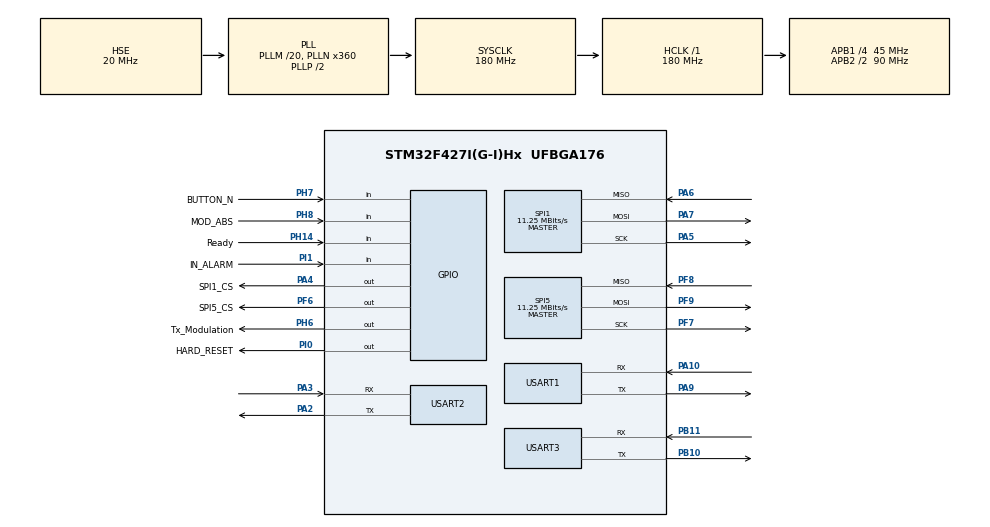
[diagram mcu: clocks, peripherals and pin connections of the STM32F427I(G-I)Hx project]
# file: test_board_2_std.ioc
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Mcu.Family=STM32F4
Mcu.Name=STM32F427I(G-I)Hx
Mcu.Package=UFBGA176
NVIC.PriorityGroup=NVIC_PRIORITYGROUP_4
NVIC.TIM2_IRQn=true\:0\:0\:false\:false\:true\:true\:true
NVIC.TIM3_IRQn=true\:0\:0\:false\:false\:true\:true\:true
NVIC.USART1_IRQn=true\:0\:0\:false\:false\:true\:true\:true
NVIC.USART2_IRQn=true\:0\:0\:false\:false\:true\:true\:true
NVIC.USART3_IRQn=true\:0\:0\:false\:false\:true\:true\:true
PA10.Mode=Asynchronous
PA10.Signal=USART1_RX
PA2.Mode=Asynchronous
PA2.Signal=USART2_TX
PA3.Mode=Asynchronous
PA3.Signal=USART2_RX
PA4.GPIO_Label=SPI1_CS
PA4.Signal=GPIO_Output
PA5.Mode=Full_Duplex_Master
PA5.Signal=SPI1_SCK
PA6.Mode=Full_Duplex_Master
PA6.Signal=SPI1_MISO
PA7.Mode=Full_Duplex_Master
PA7.Signal=SPI1_MOSI
PA9.Mode=Asynchronous
PA9.Signal=USART1_TX
PB10.Mode=Asynchronous
PB10.Signal=USART3_TX
PB11.Mode=Asynchronous
PB11.Signal=USART3_RX
PF6.GPIO_Label=SPI5_CS
PF6.Signal=GPIO_Output
PF7.Mode=Full_Duplex_Master
PF7.Signal=SPI5_SCK
PF8.Mode=Full_Duplex_Master
PF8.Signal=SPI5_MISO
PF9.Mode=Full_Duplex_Master
PF9.Signal=SPI5_MOSI
PH0/OSC_IN.Mode=HSE-External-Oscillator
PH0/OSC_IN.Signal=RCC_OSC_IN
PH1/OSC_OUT.Mode=HSE-External-Oscillator
PH1/OSC_OUT.Signal=RCC_OSC_OUT
PH14.GPIO_Label=Ready
PH14.Signal=GPIO_Input
PH6.GPIO_Label=Tx_Modulation
PH6.Signal=GPIO_Output
PH7.GPIO_Label=BUTTON_N
PH7.Signal=GPIO_Input
PH8.GPIO_Label=MOD_ABS
PH8.Signal=GPIO_Input
PI0.GPIO_Label=HARD_RESET
PI0.GPIO_PuPd=GPIO_PULLUP
PI0.Signal=GPIO_Output
PI1.GPIO_Label=IN_ALARM
PI1.Signal=GPIO_Input
ProjectManager.HeapSize=0x200
ProjectManager.StackSize=0x400
ProjectManager.TargetToolchain=MDK-ARM V5
RCC.48MHZClocksFreq_Value=90000000
RCC.AHBFreq_Value=180000000
RCC.APB1CLKDivider=RCC_HCLK_DIV4
RCC.APB1Freq_Value=45000000
RCC.APB1TimFreq_Value=90000000
RCC.APB2CLKDivider=RCC_HCLK_DIV2
RCC.APB2Freq_Value=90000000
RCC.APB2TimFreq_Value=180000000
RCC.CortexFreq_Value=180000000
RCC.HCLKFreq_Value=180000000
RCC.HSE_VALUE=20000000
RCC.HSI_VALUE=16000000
RCC.LSE_VALUE=32768
RCC.PLLM=20
RCC.PLLN=360
RCC.PLLSourceVirtual=RCC_PLLSOURCE_HSE
RCC.SYSCLKFreq_VALUE=180000000
RCC.SYSCLKSource=RCC_SYSCLKSOURCE_PLLCLK
RCC.VCOOutputFreq_Value=360000000
SPI1.BaudRatePrescaler=SPI_BAUDRATEPRESCALER_8
SPI1.CalculateBaudRate=11.25 MBits/s
SPI1.Direction=SPI_DIRECTION_2LINES
SPI1.Mode=SPI_MODE_MASTER
SPI1.VirtualType=VM_MASTER
SPI5.BaudRatePrescaler=SPI_BAUDRATEPRESCALER_8
SPI5.CalculateBaudRate=11.25 MBits/s
SPI5.Direction=SPI_DIRECTION_2LINES
SPI5.Mode=SPI_MODE_MASTER
SPI5.VirtualType=VM_MASTER
TIM2.AutoReloadPreload=TIM_AUTORELOAD_PRELOAD_ENABLE
TIM2.Period=1500
TIM2.Prescaler=44999
TIM3.AutoReloadPreload=TIM_AUTORELOAD_PRELOAD_ENABLE
TIM3.Period=1
TIM3.Prescaler=44999
USART1.VirtualMode=VM_ASYNC
USART2.VirtualMode=VM_ASYNC
USART3.VirtualMode=VM_ASYNC
VP_TIM2_VS_ClockSourceINT.Mode=Internal
VP_TIM3_VS_ClockSourceINT.Mode=Internal
board=custom

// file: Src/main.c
/* USER CODE BEGIN Header */
/**
  ******************************************************************************
  * @file           : main.c
  * @brief          : Main program body
  ******************************************************************************
  * @attention
  *
  * <h2><center>&copy; Copyright (c) 2020 STMicroelectronics.
  * All rights reserved.</center></h2>
  *
  * This software component is licensed by ST under BSD 3-Clause license,
  * the "License"; You may not use this file except in compliance with the
  * License. You may obtain a copy of the License at:
  *                        opensource.org/licenses/BSD-3-Clause
  *
  ******************************************************************************
  */
/* USER CODE END Header */

#include "main.h"
#include "spi.h"
#include "tim.h"
#include "usart.h"
#include "gpio.h"

/* USER CODE BEGIN Includes */
#include <stdio.h>
#include <string.h>
#include "cmd.h"
#include "function.h"
#include "ring_buffer.h"

/* USER CODE END Includes */

/* USER CODE BEGIN PD */
#define VER "420_testboard_1.0.3"
#define CMD_LENGTH 256
/* USER CODE END PD */

void SystemClock_Config(void);

/* USER CODE BEGIN 0 */
uint8_t terminal_buf[4096];
uint8_t communication_buf[TRANS_MAX_LENGTH];
uint32_t tim_counter = 0;
uint32_t tim_counter_max = 1;
uint32_t tim2_counter = 0;

extern usart_tr_stu *usart1_tr;
uint8_t uart1_data;
uint8_t uart1_irq_sel;
uint8_t print_trans_data;

/* USER CODE END 0 */

int main(void)
{
  /* USER CODE BEGIN 1 */
  uint8_t ch, r_flag = 0;
  uint8_t cmd[CMD_LENGTH];
  uint32_t cmd_len = 0;

  /* USER CODE END 1 */

  /* MCU Configuration--------------------------------------------------------*/

  /* Reset of all peripherals, Initializes the Flash interface and the Systick. */
  HAL_Init();

  /* Configure the system clock */
  SystemClock_Config();

  /* Initialize all configured peripherals */
  MX_GPIO_Init();
  MX_SPI1_Init();
  MX_SPI5_Init();
  MX_TIM2_Init();
  MX_TIM3_Init();
  MX_USART1_UART_Init();
  MX_USART2_UART_Init();
  MX_USART3_UART_Init();
  /* USER CODE BEGIN 2 */
  print_trans_data = 0;
  CLEAR_BIT(TERMINAL_UART.Instance->SR, USART_SR_RXNE);
  __HAL_UART_FLUSH_DRREGISTER(&TERMINAL_UART);
  rb_init(usart1_tr->rb, USART_RX_BUF_SIZE, usart1_tr->rx_buf);
  rb_init(usart1_tr->wb, USART_TX_BUF_SIZE, usart1_tr->tx_buf);
  uart1_irq_sel = 1;
  __HAL_UART_ENABLE_IT(&TERMINAL_UART, UART_IT_RXNE);

  HAL_GPIO_WritePin(Tx_Modulation_GPIO_Port, Tx_Modulation_Pin, GPIO_PIN_SET);
  HAL_GPIO_WritePin(HARD_RESET_GPIO_Port, HARD_RESET_Pin, GPIO_PIN_SET);
  HAL_GPIO_WritePin(SPI1_CS_GPIO_Port, SPI1_CS_Pin, GPIO_PIN_SET);
  HAL_GPIO_WritePin(SPI5_CS_GPIO_Port, SPI5_CS_Pin, GPIO_PIN_SET);

  PRINT("\r\nCOM is ready\r\n");
  PRINT("Firmware Version: " VER "\r\n");
  PRINT(">");
  /* USER CODE END 2 */

  /* Infinite loop */
  /* USER CODE BEGIN WHILE */
  while (1)
  {
    if (serial_available() > 0) {
      ch = serial_read();

      if (ch == '\r' || ch == '\n') {
        if (ch == '\r') {
          r_flag = 1;
        } else {
          if (r_flag) {
            r_flag = 0;
            continue;
          }
        }
        PRINT("\r\n");
        cmd[cmd_len] = 0;
        process_cmd((char*)cmd);
        PRINT(">");
        cmd_len = 0;
      } else if (ch == '\b') {
        if (cmd_len > 0) {
          HAL_UART_Transmit(&TERMINAL_UART, &ch, 1, 0xFFFFFFFF);
          PRINT(" ");
          HAL_UART_Transmit(&TERMINAL_UART, &ch, 1, 0xFFFFFFFF);
          --cmd_len;
        }
        r_flag = 0;
      } else {
        if (cmd_len < CMD_LENGTH - 1)
          cmd[cmd_len++] = ch;
        HAL_UART_Transmit(&TERMINAL_UART, &ch, 1, 0xFFFFFFFF);
        r_flag = 0;
      }
    }
    /* USER CODE END WHILE */

  }
}

void SystemClock_Config(void)
{
  RCC_OscInitTypeDef RCC_OscInitStruct = {0};
  RCC_ClkInitTypeDef RCC_ClkInitStruct = {0};

  /** Configure the main internal regulator output voltage
  */
  __HAL_RCC_PWR_CLK_ENABLE();
  __HAL_PWR_VOLTAGESCALING_CONFIG(PWR_REGULATOR_VOLTAGE_SCALE1);
  /** Initializes the CPU, AHB and APB busses clocks
  */
  RCC_OscInitStruct.OscillatorType = RCC_OSCILLATORTYPE_HSE;
  RCC_OscInitStruct.HSEState = RCC_HSE_ON;
  RCC_OscInitStruct.PLL.PLLState = RCC_PLL_ON;
  RCC_OscInitStruct.PLL.PLLSource = RCC_PLLSOURCE_HSE;
  RCC_OscInitStruct.PLL.PLLM = 20;
  RCC_OscInitStruct.PLL.PLLN = 360;
  RCC_OscInitStruct.PLL.PLLP = RCC_PLLP_DIV2;
  RCC_OscInitStruct.PLL.PLLQ = 4;
  if (HAL_RCC_OscConfig(&RCC_OscInitStruct) != HAL_OK)
  {
    Error_Handler();
  }
  /** Activate the Over-Drive mode
  */
  if (HAL_PWREx_EnableOverDrive() != HAL_OK)
  {
    Error_Handler();
  }
  /** Initializes the CPU, AHB and APB busses clocks
  */
  RCC_ClkInitStruct.ClockType = RCC_CLOCKTYPE_HCLK|RCC_CLOCKTYPE_SYSCLK
                              |RCC_CLOCKTYPE_PCLK1|RCC_CLOCKTYPE_PCLK2;
  RCC_ClkInitStruct.SYSCLKSource = RCC_SYSCLKSOURCE_PLLCLK;
  RCC_ClkInitStruct.AHBCLKDivider = RCC_SYSCLK_DIV1;
  RCC_ClkInitStruct.APB1CLKDivider = RCC_HCLK_DIV4;
  RCC_ClkInitStruct.APB2CLKDivider = RCC_HCLK_DIV2;

  if (HAL_RCC_ClockConfig(&RCC_ClkInitStruct, FLASH_LATENCY_5) != HAL_OK)
  {
    Error_Handler();
  }
}

/* USER CODE BEGIN 4 */
console_cmd cmdlist[] = {
  {"sn", cmd_get_sn, "Get Serial Number", "sn", "sn"},
  {"mdate", cmd_get_date, "Get Menufacture Date", "date", "date"},
  {"pn", cmd_get_pn, "Get Part Number", "pn", "pn"},
  {"vendor", cmd_get_vendor, "Get Vendor", "vendor", "vendor"},
  {"version", cmd_version, "Get version", "version", "version"},
  {"temp", cmd_temp, "Get device temperature", "temp", "temp"},
  {"il", cmd_IL, "Get Insertion Loss", "il <0/1>", "il 0"},
  {"tosa", cmd_tosa, "Command about tosa", "tosa thr | enable | disable | status", "tosa thr | enable | disable | status"},
  {"pd2", cmd_rx_pd_cali, "Get RX PD calibration data", "pd2", "pd2"},
  {"pd1", cmd_tap_pd_cali, "Get TAP PD calibration data", "pd1", "pd1"},
  {"voltage", cmd_voltage, "Get device voltage", "voltage get", "voltage get"},
  {"voa", cmd_voa, "Command about voa", "voa set <chn> <atten> | get <chn>", "voa set 0 1.1 | voa get 0"},
  {"alarm", cmd_alarm, "Get alarm", "alarm", "alarm"},
  {"status", cmd_device_status, "Get device status", "status", "status"},
  {"history_alarm", cmd_history_alarm, "Get history alarm", "history_alarm", "history_alarm"},
  {"upgrade", cmd_upgrade, "Command about upgrade", "upgrade init | file xmodem | run", "upgrade init | file xmodem | run"},
  {"reset", cmd_reset, "Reset the device", "reset <soft | hard | master>", "reset soft"},
  {"date", cmd_time, "Set/Get module time", "date get | set y m d h m s", "date get | set 2020 7 29 15 55 50"},
  {"performance", cmd_performance, "Get performance", "performance [id1] [id2] ... | all", "performance 1 5 | performance all"},
  {"threshold", cmd_threshold, "Set/Get threshold", "threshold get <id> | set <id> <low> <high>", "threshold get 0 | set 0 -100 800"},
  {"log", cmd_log, "Command about log", "log size <type> | get <type> <offset> <length>", "log size 1 | get 1 0x100 128"},
  {"led", cmd_led, "Command about led", "led set <chn> <color> <mode> | get <chn>", "led set 0 0 0 | led get 0"},
  {"tube", cmd_tube, "Command about nixie tube", "tube set <value> | get", "tube set 0 | tube get"},
  {"led_flash", cmd_led_flash, "Command about led flash freq", "led_flash set <mode> <value> | get <mode>", "led_flash set 2 200 | led_flash get 2"},
  {"power_mode", cmd_power_mode, "Command about laser power mode", "power_mode set <value> | get", "power_mode set 0 | power_mode get"},
  {"debug", cmd_for_debug, "Command for debug", "debug", "debug"},
  {"dbg", cmd_for_dbg, "Command for dbg", "dbg ...", "dbg ..."},
  {"help", cmd_help, "Help information", "help | <cmd> help", "help | upgrade help"},
};
const uint32_t cmd_count = sizeof(cmdlist) / sizeof(cmdlist[0]);

void HAL_UART_RxCpltCallback(UART_HandleTypeDef *huart)
{
  if (huart->Instance == TERMINAL_UART.Instance) {
    if (rb_is_full(usart1_tr->rb)) {
        rb_remove(usart1_tr->rb);
    }
    rb_insert(usart1_tr->rb, uart1_data);

    HAL_UART_Receive_IT(&TERMINAL_UART, &uart1_data, 1);
  }
}

void HAL_TIM_PeriodElapsedCallback(TIM_HandleTypeDef *htim)
{
  if (htim->Instance == TIM3) {
    if (++tim_counter >= tim_counter_max) {
      HAL_GPIO_TogglePin(Tx_Modulation_GPIO_Port, Tx_Modulation_Pin);
      tim_counter = 0;
    }
  } else if (htim->Instance == TIM2) {
    tim2_counter++;
  }
}

/* USER CODE END 4 */

void Error_Handler(void)
{
}

/************************ (C) COPYRIGHT STMicroelectronics *****END OF FILE****/
